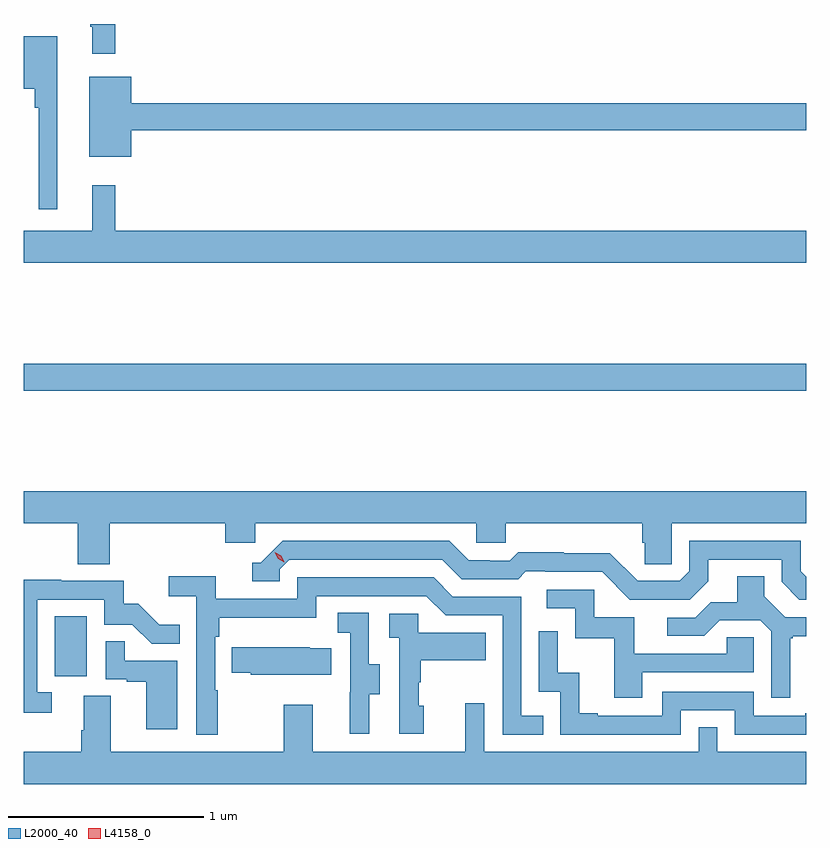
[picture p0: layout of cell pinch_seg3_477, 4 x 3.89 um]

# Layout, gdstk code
import gdstk
lib = gdstk.Library(unit=1e-6, precision=1e-09)
def R(c, l, rs):  # rectangles x0, y0, x1, y1
    for r in rs: c.add(gdstk.rectangle(r[:2], r[2:], *l))
def P(c, l, *ps):  # polygons
    for p in ps: c.add(gdstk.Polygon(p, *l))
L2000_40 = (2000, 40)
L4158_0 = (4158, 0)

pinch_seg3_477 = lib.new_cell('pinch_seg3_477')
R(pinch_seg3_477, L2000_40, [(935.438,668.166,935.602,668.473), (935.28,669.628,939.28,669.764)])
P(pinch_seg3_477, L2000_40, [(935.747,671.502),(935.619,671.502),(935.619,671.489),(935.63,671.489),(935.63,671.349),(935.747,671.349)],
  [(935.452,671.44),(935.28,671.44),(935.28,671.171),(935.335,671.171),(935.335,671.075),(935.355,671.075),(935.355,670.554),(935.452,670.554)],
  [(935.83,670.96),(939.28,670.96),(939.28,671.096),(935.83,671.096),(935.83,671.233),(935.615,671.233),(935.615,670.823),(935.83,670.823)],
  [(939.28,670.444),(935.747,670.444),(935.747,670.678),(935.63,670.678),(935.63,670.444),(935.28,670.444),(935.28,670.28),(939.28,670.28)],
  [(935.72,668.948),(936.311,668.948),(936.311,668.85),(936.462,668.85),(936.462,668.948),(937.593,668.948),(937.593,668.85),(937.743,668.85),(937.743,668.948),(938.441,668.948),(938.441,668.85),(938.455,668.85),(938.455,668.74),(938.592,668.74),(938.592,668.948),(939.28,668.948),(939.28,669.112),(935.28,669.112),(935.28,668.948),(935.555,668.948),(935.555,668.74),(935.72,668.74)],
  [(938.779,668.653),(938.779,668.763),(939.156,668.763),(939.156,668.649),(939.246,668.559),(939.28,668.559),(939.28,668.675),(939.252,668.703),(939.252,668.859),(938.682,668.859),(938.682,668.703),(938.634,668.655),(938.418,668.655),(938.276,668.797),(938.04,668.797),(938.04,668.8),(937.807,668.8),(937.765,668.757),(937.662,668.757),(937.662,668.76),(937.555,668.76),(937.456,668.859),(936.603,668.859),(936.492,668.748),(936.449,668.748),(936.449,668.652),(936.588,668.652),(936.588,668.715),(936.636,668.763),(937.419,668.763),(937.518,668.664),(937.807,668.664),(937.846,668.703),(937.945,668.703),(937.945,668.7),(938.238,668.7),(938.379,668.559),(938.685,668.559)],
  [(939.199,668.361),(939.211,668.361),(939.211,668.372),(939.28,668.372),(939.28,668.469),(939.174,668.469),(939.067,668.576),(939.067,668.678),(938.927,668.678),(938.927,668.546),(938.792,668.546),(938.712,668.466),(938.571,668.466),(938.571,668.373),(938.758,668.373),(938.839,668.454),(939.045,668.454),(939.102,668.397),(939.102,668.058),(939.199,668.058)],
  [(936.271,668.096),(936.258,668.096),(936.258,668.369),(936.278,668.369),(936.278,668.465),(936.774,668.465),(936.774,668.577),(937.338,668.577),(937.437,668.478),(937.728,668.478),(937.728,667.869),(937.937,667.869),(937.937,667.965),(937.824,667.965),(937.824,668.574),(937.474,668.574),(937.375,668.673),(936.678,668.673),(936.678,668.562),(936.26,668.562),(936.26,668.678),(936.021,668.678),(936.021,668.576),(936.162,668.576),(936.162,667.869),(936.271,667.869)],
  [(935.422,668.085),(935.349,668.085),(935.349,668.559),(935.691,668.559),(935.691,668.43),(935.835,668.43),(935.933,668.332),(936.077,668.332),(936.077,668.431),(935.973,668.431),(935.866,668.538),(935.79,668.538),(935.79,668.655),(935.471,668.655),(935.471,668.66),(935.28,668.66),(935.28,667.98),(935.422,667.98)],
  [(938.443,668.187),(939.012,668.187),(939.012,668.367),(938.875,668.367),(938.875,668.283),(938.401,668.283),(938.401,668.469),(938.196,668.469),(938.196,668.61),(937.953,668.61),(937.953,668.514),(938.1,668.514),(938.1,668.361),(938.299,668.361),(938.299,668.058),(938.443,668.058)],
  [(937.045,668.074),(937.099,668.074),(937.099,668.229),(937.044,668.229),(937.044,668.492),(936.885,668.492),(936.885,668.389),(936.948,668.389),(936.948,668.085),(936.947,668.085),(936.947,667.872),(937.045,667.872)],
  [(937.324,668.016),(937.299,668.016),(937.299,668.135),(937.309,668.135),(937.309,668.249),(937.643,668.249),(937.643,668.389),(937.296,668.389),(937.296,668.487),(937.149,668.487),(937.149,668.363),(937.2,668.363),(937.2,667.872),(937.324,667.872)],
  [(938.64,667.992),(938.916,667.992),(938.916,667.869),(939.28,667.869),(939.28,667.978),(939.275,667.978),(939.275,667.965),(939.012,667.965),(939.012,668.088),(938.544,668.088),(938.544,667.965),(938.215,667.965),(938.215,667.978),(938.12,667.978),(938.12,668.186),(938.01,668.186),(938.01,668.398),(937.914,668.398),(937.914,668.088),(938.022,668.088),(938.022,667.869),(938.64,667.869)],
  [(936.064,668.247),(935.795,668.247),(935.795,668.345),(935.7,668.345),(935.7,668.151),(935.807,668.151),(935.807,668.139),(935.906,668.139),(935.906,667.896),(936.064,667.896)],
  [(936.851,668.311),(936.743,668.311),(936.743,668.314),(936.343,668.314),(936.343,668.185),(936.441,668.185),(936.441,668.174),(936.851,668.174)],
  [(939.28,667.78),(938.826,667.78),(938.826,667.907),(938.73,667.907),(938.73,667.78),(937.635,667.78),(937.635,668.029),(937.538,668.029),(937.538,667.78),(936.757,667.78),(936.757,668.02),(936.61,668.02),(936.61,667.78),(935.725,667.78),(935.725,668.066),(935.585,668.066),(935.585,667.892),(935.573,667.892),(935.573,667.78),(935.28,667.78),(935.28,667.616),(939.28,667.616)])
P(pinch_seg3_477, L4158_0, [(936.612,668.749),(936.581,668.768),(936.564,668.8),(936.564,668.8),(936.564,668.8),(936.595,668.782),(936.612,668.749),(936.612,668.749)])

lib.write_gds('pinch_seg3_477.gds')
